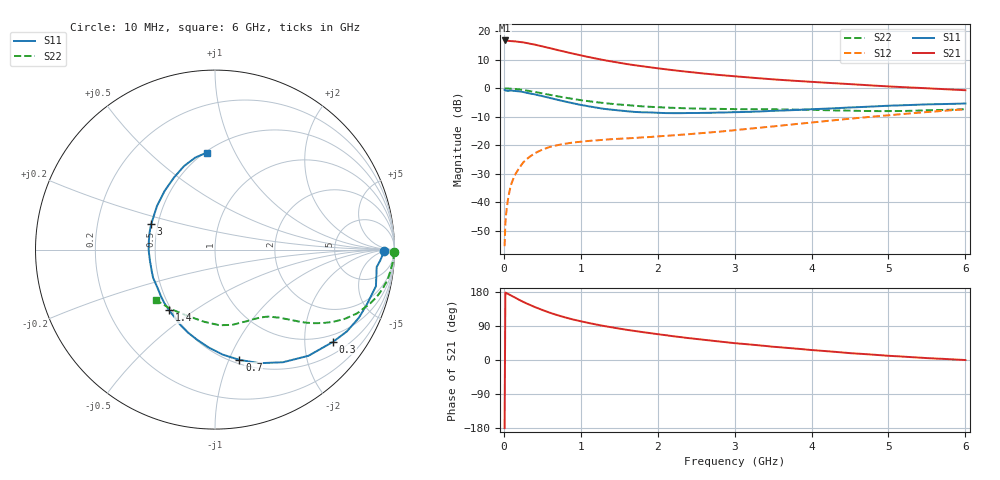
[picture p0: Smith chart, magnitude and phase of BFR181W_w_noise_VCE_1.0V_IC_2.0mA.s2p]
! Infineon Technologies  Discrete & RF Semiconductors
! BFR181W
! VCE =  1.0 V,  IC =  2.0 mA
! Common Emitter S-Parameters:  Jan 2017
# GHz  S  MA  R  50
!  f  S11  S21  S12  S22
! GHz  MAG  ANG  MAG  ANG  MAG  ANG  MAG  ANG
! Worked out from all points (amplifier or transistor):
!   77 points, 10 MHz to 6 GHz, reference 50 ohm
!   highest |S21| = 16.8 dB at 10 MHz (marker M1)
!   |S21| within 3 dB of that: start of sweep to 644 MHz
!   unconditionally stable (mu >= 1): 1.794 GHz to 4.357 GHz
!   at 130 MHz: K = 0.07, MSG = 23.9 dB, |S12| = -31.3 dB
!   at 2.2 GHz: K = 1.10, MAG = 9.5 dB, |S12| = -16.5 dB
!   at 6 GHz: K = 0.89, MSG = 3.3 dB, |S12| = -7.3 dB
!   lowest NFmin = 0.84 dB at 450 MHz
!   S11 on the Smith chart (normalised r, x): 10 MHz: 34, -4; 300 MHz: 0.80, -2.70; 700 MHz: 0.54, -1.09; 1.4 GHz: 0.49, -0.40; 3 GHz: 0.46, +0.15; 6 GHz: 0.51, +0.78
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0.01  0.9436 -0.4  6.944 -179.8  0.0017 86.2  0.9999 -0.7
0.02  0.9218 -3.9  6.871 178.0  0.0043 98.7  0.9979 -1.3
0.03  0.9164 -4.6  6.861 177.0  0.0063 92.7  0.9969 -2.0
0.08  0.9126 -10.1  6.79 171.7  0.0171 84.4  0.9887 -5.4
0.15  0.8996 -19.8  6.683 164.3  0.0312 78.8  0.9753 -10.1
0.2  0.8868 -25.4  6.547 158.7  0.0401 75.8  0.9582 -13.3
0.25  0.8648 -31.8  6.429 153.6  0.0498 71.8  0.9394 -16.2
0.3  0.8352 -37.9  6.242 148.8  0.0578 68.2  0.916 -19.0
0.4  0.7883 -48.6  5.885 139.9  0.0724 62.0  0.8686 -24.1
0.5  0.7329 -58.9  5.47 132.0  0.0841 57.5  0.8182 -28.2
0.6  0.6798 -68.6  5.087 124.6  0.094 53.0  0.7708 -31.5
0.7  0.6294 -77.5  4.707 118.1  0.1011 50.4  0.7264 -34.3
0.9  0.5475 -93.5  4.073 106.9  0.1121 45.4  0.653 -38.6
1.1  0.486 -108.1  3.557 97.8  0.1196 43.2  0.5973 -41.6
1.4  0.4235 -127.2  2.971 86.3  0.1284 41.7  0.5358 -45.5
1.7  0.3865 -145.0  2.554 76.7  0.1348 41.9  0.4955 -49.3
2.1  0.3689 -165.6  2.169 65.6  0.1468 44.1  0.4619 -54.6
3  0.3828 158.4  1.633 44.4  0.1845 49.4  0.4328 -68.9
3.1  0.3848 155.2  1.592 42.7  0.1906 49.8  0.4316 -70.5
4.1  0.4362 128.2  1.279 24.8  0.2599 50.6  0.4176 -88.9
5.1  0.5014 108.5  1.066 10.0  0.3466 45.7  0.4003 -115.3
6  0.5427 94.8  0.929 -0.1  0.4304 38.0  0.4317 -139.5
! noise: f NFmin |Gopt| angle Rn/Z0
0.45  0.84  0.56  18  0.32
0.9  0.9  0.51  33  0.3
1.9  1.35  0.31  81  0.23
2.4  1.58  0.27  95  0.25
